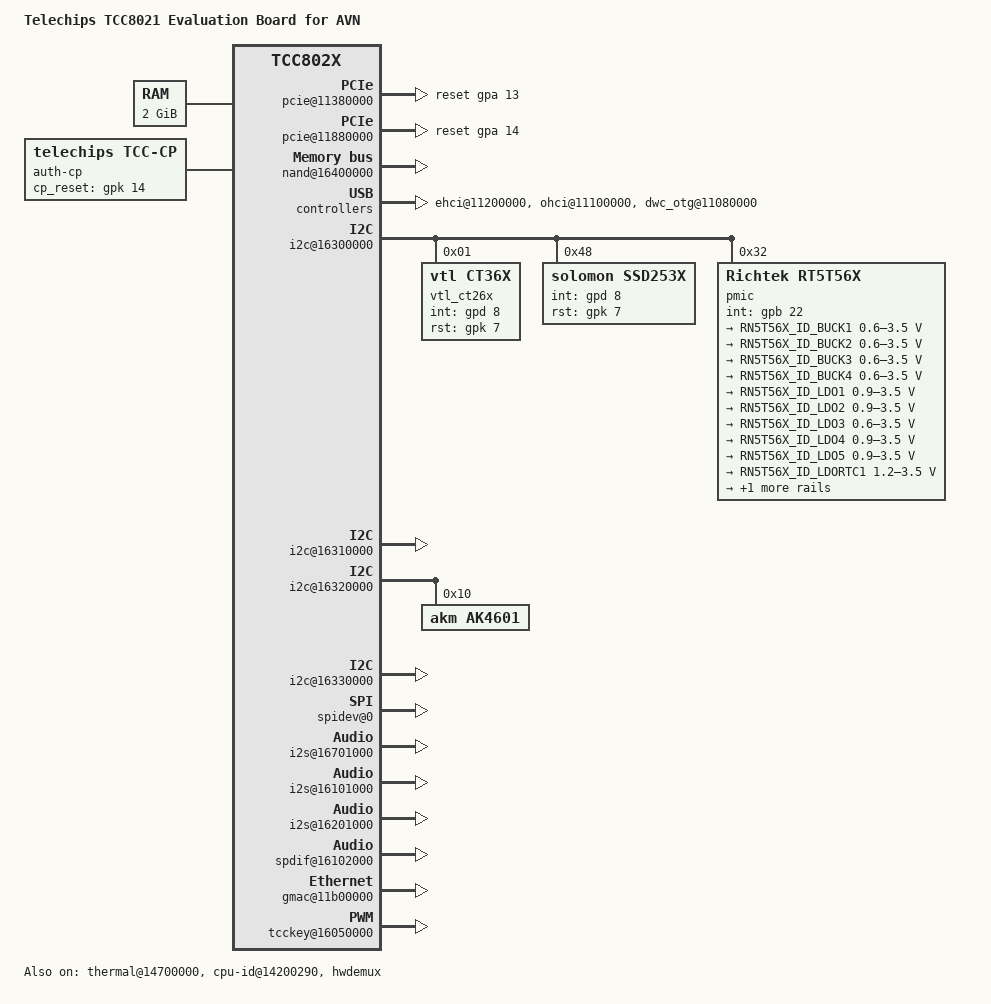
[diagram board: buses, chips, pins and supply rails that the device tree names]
/*
 * Device tree for Telechips TCC8021 board
 *
 * Copyright (C) 2016 Telechips Inc. - http://www.telechips.com
 *
 * This file is dual-licensed: you can use it either under the terms
 * of the GPL or the X11 license, at your option. Note that this dual
 * licensing only applies to this file, and not this project as a
 * whole.
 *
 *  a) This file is free software; you can redistribute it and/or
 *     modify it under the terms of the GNU General Public License as
 *     published by the Free Software Foundation; either version 2 of the
 *     License, or (at your option) any later version.
 *
 *     This file is distributed in the hope that it will be useful,
 *     but WITHOUT ANY WARRANTY; without even the implied warranty of
 *     MERCHANTABILITY or FITNESS FOR A PARTICULAR PURPOSE.  See the
 *     GNU General Public License for more details.
 *
 * Or, alternatively,
 *
 *  b) Permission is hereby granted, free of charge, to any person
 *     obtaining a copy of this software and associated documentation
 *     files (the "Software"), to deal in the Software without
 *     restriction, including without limitation the rights to use,
 *     copy, modify, merge, publish, distribute, sublicense, and/or
 *     sell copies of the Software, and to permit persons to whom the
 *     Software is furnished to do so, subject to the following
 *     conditions:
 *
 *     The above copyright notice and this permission notice shall be
 *     included in all copies or substantial portions of the Software.
 *
 *     THE SOFTWARE IS PROVIDED "AS IS", WITHOUT WARRANTY OF ANY KIND,
 *     EXPRESS OR IMPLIED, INCLUDING BUT NOT LIMITED TO THE WARRANTIES
 *     OF MERCHANTABILITY, FITNESS FOR A PARTICULAR PURPOSE AND
 *     NONINFRINGEMENT. IN NO EVENT SHALL THE AUTHORS OR COPYRIGHT
 *     HOLDERS BE LIABLE FOR ANY CLAIM, DAMAGES OR OTHER LIABILITY,
 *     WHETHER IN AN ACTION OF CONTRACT, TORT OR OTHERWISE, ARISING
 *     FROM, OUT OF OR IN CONNECTION WITH THE SOFTWARE OR THE USE OR
 *     OTHER DEALINGS IN THE SOFTWARE.
 */

#include "tcc8021.dtsi"
#include "tcc802x-linux.dtsi"

/ {
	model = "Telechips TCC8021 Evaluation Board for AVN";
	compatible = "telechips,tcc8021", "telechips,tcc802x";

	chosen {
		bootargs = "vmalloc=480M console=ttyAMA0,115200n8";
		stdout-path = &uart0;
	};

	memory@20000000 {
		device_type = "memory";
		reg = <0x20000000 0x80000000>;
	};

	pcie@11380000 {
		reset-gpio = <&gpa 13 0>;
		status = "okay";
	};

	pcie@11880000 {
		reset-gpio = <&gpa 14 0>;
		status = "okay";
	};

	nand@16400000 {
		compatible = "telechips,nand-v8";
		status = "okay";
		pinctrl-names = "default";
		pinctrl-0 = <&nand_rdy &nand_cs0
			     &nand_we &nand_oe &nand_cle &nand_ale
			     &nand_wp &nand_databus8>;
	};

	/* USB 2.0 OTG */
	ehci_phy@119a0010{
		status = "okay";
		vbus-ctrl-able;
		vbus-gpio = <&gpk 10 0>;
	};

	ehci@11200000 {
		status = "okay";
		hcd_id = <0>;
		phy-type = <1>;	    //pico phy = 1, nano phy = 0
		vbus-ctrl-able;
		vbus-gpio = <&gpk 10 0>;

		//sq_level_ctl;
		TXVRT = <0xB>;
		TXRISET = <0x3>;
		TXAT = <0x1>;
	};

	ohci@11100000 {
		status = "okay";
		vbus-ctrl-able;
		vbus-gpio = <&gpk 10 0>;
	};

	dwc_otg_phy@119A0100 {
		status = "okay";

		vbus-ctrl-able;
		vbus-gpio = <&gpk 9 0>;
	};

	mux_host_phy@119A00DC {
		status = "okay";

		vbus-ctrl-able;
		vbus-gpio = <&gpk 9 0>;
	};

	dwc_otg@11080000 {
		status = "okay";
		phy-type = <1>;     //pico phy = 1, nano phy = 0

		vbus-ctrl-able;
		vbus-gpio = <&gpk 9 0>;
	};

	hsic@11c00000 {
		status = "okay";
		hsic;
		hcd_id = <2>;       //2 == HSIC
		phy-type = <1>;     //pico phy = 1, nano phy = 0
		vbus-ctrl-able;
		vbus-gpio = <&gpk 25 0>;
	};

	thermal@14700000 {
		compatible = "telechips,tcc-thermal";
		reg = <0x14700000 0x4 0x14700030 0x4 0x14200290 0x4 0x1420029C 0x4>;
		status = "okay";

		throttle_count = <5>;
		throttle_active_count = <0>;
		throttle_passive_count = <5>;

		cal_type = "TYPE_NONE";
		polling-delay-idle = <0>;
		polling-delay-passive = <0>;

		throttle_table {
			throttle_tab_0 {
				temp = <75>;
				freq_max_cluster0 = <1000000>;
				freq_max_cluster1 = <900000>;
			};
			throttle_tab_1 {
				temp = <80>;
				freq_max_cluster0 = <900000>;
				freq_max_cluster1 = <810000>;
			};
			throttle_tab_2 {
				temp = <85>;
				freq_max_cluster0 = <800000>;
				freq_max_cluster1 = <720000>;
			};
			throttle_tab_3 {
				temp = <90>;
				freq_max_cluster0 = <700000>;
				freq_max_cluster1 = <630000>;
			};
			throttle_tab_4 {
				temp = <95>;
				freq_max_cluster0 = <600000>;
				freq_max_cluster1 = <540000>;
			};
		};
	};

	cpu-id@14200290{
		compatible = "telechips,tcc-cpu-id";
		reg = <0x14200290 0x4 0x14200298 0x4 0x1420029C 0x4 0x14400014 0x4>;
		status = "okay";
	};

	overlaymixer:overlaymixer@1A100000 {
		status ="okay";
		contiguousSize = <0x1000000>;  /* 16MB (if > 512MB RAM) refer to Guide 27 Page */
		baseAddress = <0x20000000>;
		physSize = <0x80000000>; /*  DRAM size (0x40000000 = 1GB, 0x80000000 = 2GB) */
		};

	i2c@16300000 {
		status = "okay";
		port-mux = <77 78>; /* [0]SCL [1]SDA */
		pinctrl-names = "default";
		pinctrl-0 = <&i2c2_bus>;
		vtl_ct26x@01 {
			compatible = "vtl,ct36x";
		    reg = <0x01>;
		    pinctrl-names = "default";
		    pinctrl-0 = <&tsc_default>;
		    int-gpios = <&gpd 8 0>;
		    rst-gpios = <&gpk 7 0>;
		};
		ssd253x@48 {
			compatible = "solomon,ssd253x";
			reg = <0x48>;
			pinctrl-names = "default";
			pinctrl-0 = <&tsc_default>;
			int-gpios = <&gpd 8 0>;
			rst-gpios = <&gpk 7 0>;
		};
		pmic: rt5t56x@32 {
			compatible = "Richtek,rt5t56x";
			reg = <0x32>;
			int-gpios = <&gpb 22 0>; /*<&gpf 16 0> */

			onkey {
				compatible = "Richtek,rn5t56x-onkey";
				Richtek,disable-key-power;
			};
			
			regulators {
				RN5T56X_ID_BUCK1: buck1 {
					regulator-name = "VCORE";
					regulator-min-microvolt = <600000>;
					regulator-max-microvolt = <3500000>;
					//regulator-max-microamp = <3000000>;
					regulator-always-on;
				};
				RN5T56X_ID_BUCK2: buck2 {
					regulator-name = "VMEMQ";
					regulator-min-microvolt = <600000>;
					regulator-max-microvolt = <3500000>;
					//regulator-max-microamp = <3000000>;
					regulator-always-on;
				};
				RN5T56X_ID_BUCK3: buck3 {
					regulator-name = "VCPU";
					regulator-min-microvolt = <600000>;
					regulator-max-microvolt = <3500000>;
					//regulator-max-microamp = <2000000>;
					regulator-always-on;
				};
				RN5T56X_ID_BUCK4: buck4 {
					regulator-name = "VIO3V3";
					regulator-min-microvolt = <600000>;
					regulator-max-microvolt = <3500000>;
					//regulator-max-microamp = <2000000>;
					regulator-always-on;
				};
				RN5T56X_ID_LDO1: ldo1 {
					regulator-name = "VIO1V2";
					regulator-min-microvolt = <900000>;
					regulator-max-microvolt = <3500000>;
					//regulator-max-microamp = <300000>;
					regulator-always-on;
				};
				RN5T56X_ID_LDO2: ldo2 {
					regulator-name = "VIO1V8";
					regulator-min-microvolt = <900000>;
					regulator-max-microvolt = <3500000>;
					//regulator-max-microamp = <300000>;
					regulator-always-on;
				};
				RN5T56X_ID_LDO3: ldo3 {
					regulator-name = "VIO3V3_1V8";
					regulator-min-microvolt = <600000>;
					regulator-max-microvolt = <3500000>;
					//regulator-max-microamp = <300000>;
					regulator-always-on;
				};
				RN5T56X_ID_LDO4: ldo4 {
					regulator-name = "VDD33D_PERI0";
					regulator-min-microvolt = <900000>;
					regulator-max-microvolt = <3500000>;
					//regulator-max-microamp = <200000>;
					regulator-always-on;
				};
				RN5T56X_ID_LDO5: ldo5 {
					regulator-name = "VDD33D_PERI5";
					regulator-min-microvolt = <900000>;
					regulator-max-microvolt = <3500000>;
					//regulator-max-microamp = <200000>;
					regulator-always-on;
				};
				RN5T56X_ID_LDORTC1: ldortc1 {
					regulator-name = "vdd_reserve1";
					regulator-min-microvolt = <1200000>;
					regulator-max-microvolt = <3500000>;
					//regulator-max-microamp = <30000>;
					regulator-always-on;
				};
				RN5T56X_ID_LDORTC2: ldortc2 {
					regulator-name = "vdd_reserve2";
					regulator-min-microvolt = <900000>;
					regulator-max-microvolt = <3500000>;
					//regulator-max-microamp = <10000>;
					regulator-always-on;
				};
			};
		};

	};

	i2c@16310000 {
		status = "okay";
		port-mux = <79 80>; /* [0]SCL [1]SDA */
		pinctrl-names = "default";
		pinctrl-0 = <&i2c3_bus>;
	};

	i2c@16320000 {
		status = "okay";
		port-mux = <113 114>; /* [0]SCL [1]SDA */
		pinctrl-names = "default";
		pinctrl-0 = <&i2c4_bus>;

		ak4601: ak4601@10 {
			compatible = "akm,ak4601";
			//ak4601,pdn-gpio = <&gpe 4 1>;
			reg = <0x10>;
		};

	};

	i2c@16330000 {
		status = "okay";
		port-mux = <149 150>; /* [0]SCL [1]SDA */
		pinctrl-names = "default";
		pinctrl-0 = <&i2c5_bus>;
	};

	gpsb0@16900000 {
		status = "okay";
		gpsb-port = <102 99 101 100>;	/* [0]SDI [1]SCLK [2]SFRM [3]SDO */
		pinctrl-names = "idle", "active";
		pinctrl-0 = <&gpsb0_bus>;
		pinctrl-1 = <&gpsb0_bus>;

		#address-cells = <1>;
		#size-cells = <0>;
		spidev@0 {
			compatible = "rohm,dh2228fv";
			reg = <0>;
			spi-max-frequency = <2000000>;
		};
	};

	gpsb1@16910000 {
		status = "okay";
		gpsb-port = <106 103 105 104>;	/* [0]SDI [1]SCLK [2]SFRM [3]SDO */
		pinctrl-names = "idle", "active";
		pinctrl-0 = <&gpsb1_bus>;
		pinctrl-1 = <&gpsb1_bus>;
	};

	gpsb2@16920000 {
		status = "okay";
		gpsb-port = <20 17 18 19>;	/* [0]SDI [1]SCLK [2]SFRM [3]SDO */
		pinctrl-names = "idle", "active";
		pinctrl-0 = <&gpsb2_bus>;
		pinctrl-1 = <&gpsb2_bus>;
	};


	i2s@16701000 {
		compatible = "telechips,sdr";
		dev-name = "tcc-sdr";
		clk-mux = /bits/ 8 <255 107 108>; // MCLK BCLK LRCK
		dain-mux = /bits/ 8 <109 110 111 112>; // DAI0 DAI1 DAI2 DAI3
		status = "okay";
	};

	adma@16100000 {
		status = "okay";
	};

	adma@16200000 {
		status = "okay";
	};

	i2s@16101000 {
		pinctrl-names = "default";
		pinctrl-0 = <&gfb163 &gfb164 &gfb165 &gfb166 &gfb167 &gfb168>;
		clock-frequency = <49152000>;   // 48000*1024
		clk-mux = /bits/ 8 <163 164 165>; // MCLK BCLK LRCK
		daout-mux = /bits/ 8 <166 167>; // DAO0 DAO1 DAO2 DAO3
		dain-mux = /bits/ 8 <168>; // DAI0 DAI1 DAI2 DAI3
		status = "okay";
	};

	i2s@16201000 {
		pinctrl-names = "default";
		pinctrl-0 = <&gfb175 &gfb176 &gfb177 &gfb178>;
		clock-frequency = <49152000>;   // 48000*1024
		clk-mux = /bits/ 8 <255 175 176>; // MCLK BCLK LRCK
		daout-mux = /bits/ 8 <177>; // DAO0 DAO1 DAO2 DAO3
		dain-mux = /bits/ 8 <178>; // DAI0 DAI1 DAI2 DAI3
		status = "okay";
	};

	spdif@16102000 {
		pinctrl-names = "default";
		pinctrl-0 = <&gfb157 &gfb158>;
		port-mux = /bits/ 8 <157 158>; /* TX RX */
		status = "okay";
	};

	sound@0 {
		compatible = "telechips,snd-card";
		card-name = "TCC8021 EVM Card";
		status = "okay";

		telechips,dai-link@0 {
			stream-name="I2S_0";

			codec,format = "i2s"; // i2s, left_j, right_j
			codec,continuous-clock;

			mclk_div = <16>; // 4,6,8,16
			bclk_ratio = <64>; // 32,48,64fs
			pcm = <&adma0>;
			dai = <&i2s0>;
			codec = <&ak4601>;
			codec,dai-name = "ak4601-aif1";
		};

		telechips,dai-link@1 {
			stream-name="SPDIF_0";

			pcm = <&adma0>;
			dai = <&spdif0>;
		};

		telechips,dai-link@2 {
			stream-name="I2S_1";

			codec,format = "i2s";

			pcm = <&adma1>;
			dai = <&i2s1>;
		};
	};

	gmac@11b00000 {
		status = "okay";
//		phyon-gpio	= <&gpc 27 0>;
		phyrst-gpio = <&gpc 29 0>;
		phy-interface = "rgmii";
		ecid-mac-addr;
		txclk-o-dly = <31>;
		txclk-o-inv = <0>;
		txclk-i-dly = <0>;
		txclk-i-inv = <0>;
		txen-dly = <0>;
		txer-dly = <0>;
		txd0-dly = <0>;
		txd1-dly = <0>;
		txd2-dly = <0>;
		txd3-dly = <0>;
		txd4-dly = <0>;
		txd5-dly = <0>;
		txd6-dly = <0>;
		txd7-dly = <0>;
		rxclk-i-dly = <0>;
		rxclk-i-inv = <0>;
		rxdv-dly = <0>;
		rxer-dly = <0>;
		rxd0-dly = <0>;
		rxd1-dly = <0>;
		rxd2-dly = <0>;
		rxd3-dly = <0>;
		rxd4-dly = <0>;
		rxd5-dly = <0>;
		rxd6-dly = <0>;
		rxd7-dly = <0>;
		crs-dly = <0>;
		col-dly = <0>;
		pinctrl-names = "default", "mii", "rmii", "gmii", "rgmii";
		pinctrl-0 = <>;
		pinctrl-1 = <&gmac1_mdc &gmac1_mdio &gmac1_col &gmac1_crs &gmac1_txer &gmac1_rxer
					 &gmac1_txclk &gmac1_txen &gmac1_txd0 &gmac1_txd1 &gmac1_txd2 &gmac1_txd3
					 &gmac1_rxclk &gmac1_rxdv &gmac1_rxd0 &gmac1_rxd1 &gmac1_rxd2 &gmac1_rxd3>;
		pinctrl-2 = <&gmac1_mdc &gmac1_mdio
					 &gmac1_txclk &gmac1_txen &gmac1_txd0 &gmac1_txd1
					 &gmac1_rxer &gmac1_rxdv &gmac1_rxd0 &gmac1_rxd1>;
		pinctrl-3 = <&gmac1_mdc &gmac1_mdio &gmac1_col &gmac1_crs &gmac1_txer &gmac1_rxer
					 &gmac1_txclk &gmac1_txen &gmac1_txd0 &gmac1_txd1 &gmac1_txd2 &gmac1_txd3
					 &gmac1_txd4 &gmac1_txd5 &gmac1_txd6 &gmac1_txd7
					 &gmac1_rxclk &gmac1_rxdv &gmac1_rxd0 &gmac1_rxd1 &gmac1_rxd2 &gmac1_rxd3
					 &gmac1_rxd4 &gmac1_rxd5 &gmac1_rxd6 &gmac1_rxd7>;
		pinctrl-4 = <&gmac1_mdc &gmac1_mdio 
					 &gmac1_txclk &gmac1_txen &gmac1_txd0 &gmac1_txd1 &gmac1_txd2 &gmac1_txd3 
					 &gmac1_rxclk &gmac1_rxdv &gmac1_rxd0 &gmac1_rxd1 &gmac1_rxd2 &gmac1_rxd3>;
	};

	/* CP */
	auth-cp {
		compatible = "telechips, tcc-cp";
		cp-type = <1>;	    /* 2.0C = 1, 2.0B = 0 */
		i2c-channel = <1>;	/* 0 ~ 3 */
		/*	power-ctrl-able; */
		/* cp_power-gpio = <&gpk 14 0>; */
		cp_reset-gpio = <&gpk 14 0>;
	};

	/* H/W Demux */
	hwdemux: cmbus@19000000 {
		compatible = "telechips,hwdemux";
		status = "okay";
	};
	tcckey@16050000 {
	    compatible = "telechips,tcckey";
	    status = "okay";
	};

	vout_drv@0 {
		status = "okay";
	};
	
	smartcard {
		compatible = "telechips,pl131-smartcard";
		reg = <0x16601000 0xFFF 0x16684000 0x10>;                //smartcard #0, 
		clocks = <&clk_io IOBUS_SMARTCARD0>;
		clock-frequency = <50000000>;
		smartcard-clock = <4000000>;                             // initail value 4Mhz
		Fi = <372>;						 // clock rate conversion integer
		Di = <1>;						 // initail value

		uart_ch = <&uart1>;					 // uart and smartcard share clock
		uart_chnum = <1>;
		port-num = <0>;
		tda8024-use = <1>;
		rst_gpios =  <&gpb 16 0>;
		detect_gpios = <&gph 7 0>;
		pwren_gpios = <&gph 10 0>;
		data_gfb = <21>;
		clk_gfb = <22>;
		pinctrl-names = "default";
		pinctrl-0 = <&smartcard_bus>;
		status = "disable";
	};	
};
